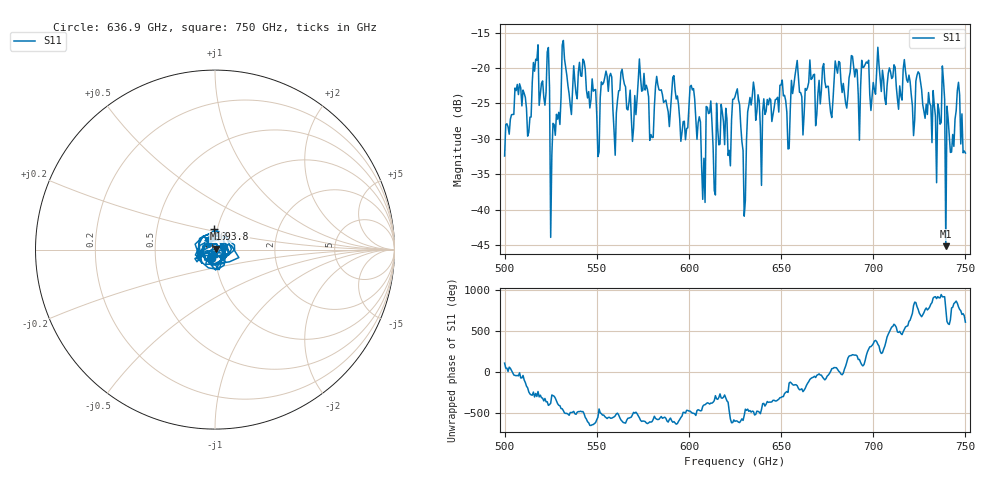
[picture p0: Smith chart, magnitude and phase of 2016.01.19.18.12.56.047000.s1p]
!Created with skrf (http://scikit-rf.org).
# GHz S RI R 50.0
!freq ReS11 ImS11
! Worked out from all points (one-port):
!   401 points, 500 GHz to 750 GHz, reference 50 ohm
!   lowest |S11| = -45.2 dB at 739.4 GHz (marker M1), VSWR 1.01, Z = 50.3 + j0.464 ohm
!   |S11| at or under -10 dB: start of sweep to end of sweep
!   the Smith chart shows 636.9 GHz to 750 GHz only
!   S11 on the Smith chart (normalised r, x): 636.9 GHz: 0.95, -0.09; 693.8 GHz: 0.97, +0.22; 750 GHz: 0.98, -0.05
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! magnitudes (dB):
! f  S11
! 500 GHz  -32.4
! 506.9 GHz  -22.3
! 513.1 GHz  -29.1
! 516.9 GHz  -18.8
! 523.1 GHz  -17.7
! 526.2 GHz  -27.8
! 531.2 GHz  -16.8
! 550.6 GHz  -32.5
! 562.5 GHz  -23.2
! 570 GHz  -28.4
! 574.4 GHz  -23.3
! 580 GHz  -29.8
! 583.1 GHz  -22.3
! 593.8 GHz  -24.0
! 601.9 GHz  -23.1
! 607.5 GHz  -38.5
! 610.6 GHz  -26.4
! 615 GHz  -25.0
! 625 GHz  -24.1
! 630 GHz  -40.9
! 636.9 GHz  -26.1
! 656.2 GHz  -23.6
! 687.5 GHz  -20.6
! 693.8 GHz  -18.9
! 718.8 GHz  -22.0
! 739.4 GHz  -45.2
! 745.6 GHz  -23.2
! 750 GHz  -32.0
